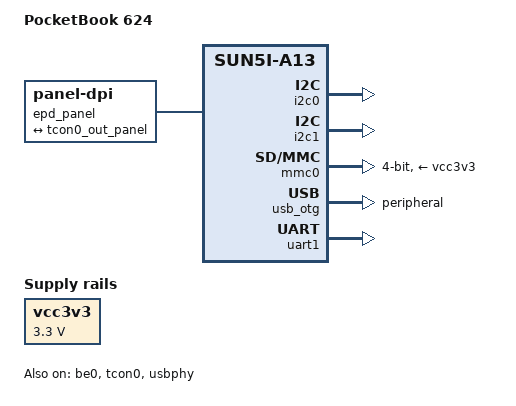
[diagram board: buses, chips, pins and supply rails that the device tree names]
// SPDX-License-Identifier: GPL-2.0
/*
 * PocketBook 624 (Basic Touch) - ED060SCE e-ink panel driven by TCON0.
 *
 * The A13 has no EPD controller: TCON0 scans out a 258x620 XRGB8888
 * "step buffer" whose bits drive the panel signals directly (PDn = bit n).
 * Timings come from the stock script.bin [lcd0_para] / PocketBook GPL
 * disp_eink_config.h.  Userspace (epdshow) composes waveform frames and
 * switches the panel rails through GPIOs, so none of the rail pins are
 * claimed here.
 *
 *   PD3-7,PD10-12  source data (4 px x 2 bit per clock)
 *   PD13 XLE   PD15 MODE   PD20 XOE   PD21 XSTL   PD22 CKV   PD23 SPV
 *   PD24 SDCLK (LCD pixel clock)
 *
 *   Rails (GPIO, userspace): PE1 VDD (active low), PE3 VNEG, PB10 VPOS,
 *   PD18 VGG, PD19 VCOM, PD2 RL, PD14 UD
 */

/dts-v1/;
#include "sun5i-a13.dtsi"
#include <dt-bindings/gpio/gpio.h>

/ {
	model = "PocketBook 624";
	compatible = "pocketbook,624", "allwinner,sun5i-a13";

	aliases {
		serial0 = &uart1;
		mmc0 = &mmc0;
	};

	chosen {
		stdout-path = "serial0:115200n8";
	};

	vcc3v3: regulator-vcc3v3 {
		compatible = "regulator-fixed";
		regulator-name = "vcc3v3";
		regulator-min-microvolt = <3300000>;
		regulator-max-microvolt = <3300000>;
		regulator-always-on;
	};

	epd_panel: panel {
		compatible = "panel-dpi";
		width-mm = <122>;
		height-mm = <91>;

		panel-timing {
			clock-frequency = <16000000>;
			hactive = <258>;
			vactive = <620>;
			/* htotal 271, hbp(sync+back) 2 */
			hfront-porch = <11>;
			hsync-len = <1>;
			hback-porch = <1>;
			/* vtotal 695, vbp(sync+back) 2 */
			vfront-porch = <73>;
			vsync-len = <1>;
			vback-porch = <1>;
			hsync-active = <0>;
			vsync-active = <0>;
			de-active = <1>;
			/* lcd_io_cfg0 = 0x04000000: data driven on DCLK falling edge */
			pixelclk-active = <0>;
		};

		port {
			panel_in: endpoint {
				remote-endpoint = <&tcon0_out_panel>;
			};
		};
	};
};

/*
 * No AXP209 node yet, so cpufreq-dt would raise the clock without raising
 * vdd-cpu (FEL leaves it low) and lock the CPU up.  Stay at the boot clock.
 */
&cpu0 {
	/delete-property/ operating-points;
};

&be0 {
	status = "okay";
};

&i2c0 {
	status = "okay";
};

&i2c1 {
	status = "okay";
};

&mmc0 {
	pinctrl-names = "default";
	pinctrl-0 = <&mmc0_pins>;
	vmmc-supply = <&vcc3v3>;
	bus-width = <4>;
	max-frequency = <25000000>;
	broken-cd;
	status = "okay";
};

&pio {
	vcc-pb-supply = <&vcc3v3>;
	vcc-pc-supply = <&vcc3v3>;
	vcc-pd-supply = <&vcc3v3>;
	vcc-pe-supply = <&vcc3v3>;
	vcc-pf-supply = <&vcc3v3>;
	vcc-pg-supply = <&vcc3v3>;

	lcd_epd_pins: lcd-epd-pins {
		pins = "PD3", "PD4", "PD5", "PD6", "PD7",
		       "PD10", "PD11", "PD12", "PD13", "PD15",
		       "PD20", "PD21", "PD22", "PD23", "PD24";
		function = "lcd0";
	};
};

&tcon0 {
	pinctrl-names = "default";
	pinctrl-0 = <&lcd_epd_pins>;
	status = "okay";
};

&tcon0_out {
	tcon0_out_panel: endpoint@0 {
		reg = <0>;
		remote-endpoint = <&panel_in>;
	};
};

/*
 * USB OTG (the FEL port) in peripheral mode with no gadget bound: the musb
 * driver resets the core and drops the D+ pull-up, so the host sees a clean
 * unplug once Linux starts.  Otherwise the dead BROM connection lingers and
 * VMware's USB stub wedges, blocking the next FEL attach.
 */
&otg_sram {
	status = "okay";
};

&usb_otg {
	dr_mode = "peripheral";
	status = "okay";
};

&usbphy {
	status = "okay";
};

&uart1 {
	pinctrl-names = "default";
	pinctrl-0 = <&uart1_pg_pins>;
	status = "okay";
};
